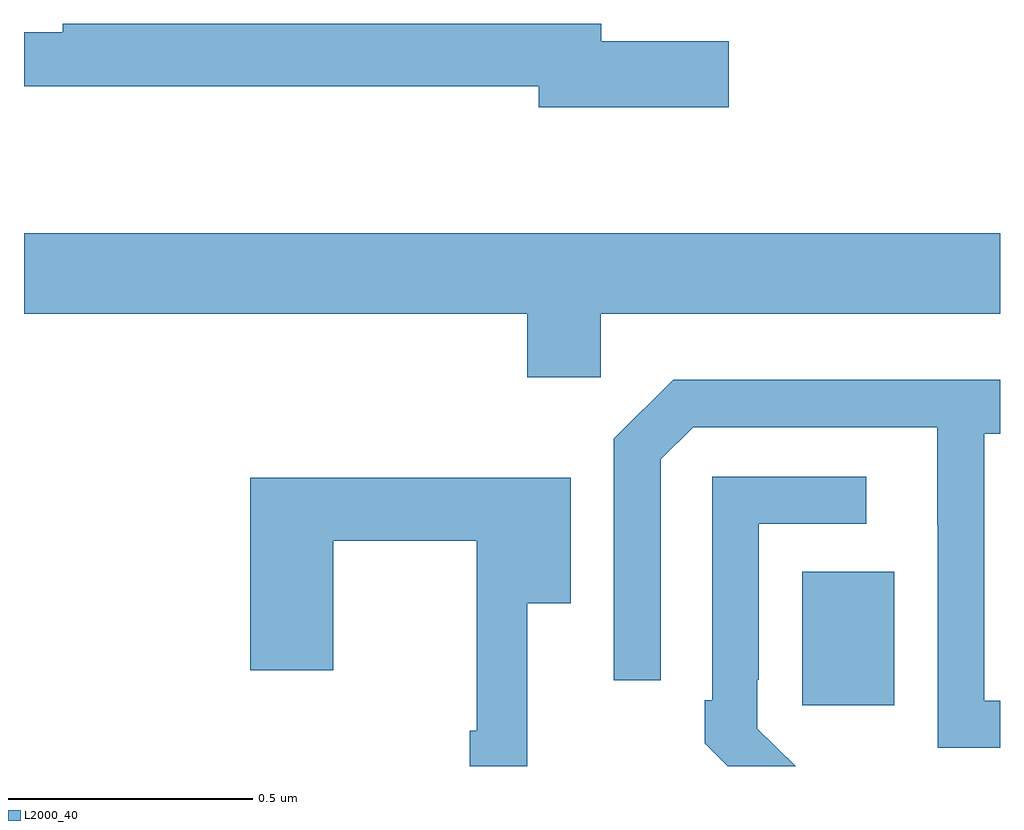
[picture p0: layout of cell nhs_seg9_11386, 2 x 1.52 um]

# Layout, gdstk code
import gdstk
lib = gdstk.Library(unit=1e-6, precision=1e-09)
def R(c, l, rs):  # rectangles x0, y0, x1, y1
    for r in rs: c.add(gdstk.rectangle(r[:2], r[2:], *l))
def P(c, l, *ps):  # polygons
    for p in ps: c.add(gdstk.Polygon(p, *l))
L2000_40 = (2000, 40)

nhs_seg9_11386 = lib.new_cell('nhs_seg9_11386')
R(nhs_seg9_11386, L2000_40, [(256.595,1187.625,256.783,1187.899)])
P(nhs_seg9_11386, L2000_40, [(256.444,1188.986),(256.183,1188.986),(256.183,1189.022),(255.079,1189.022),(255.079,1189.004),(255,1189.004),(255,1188.894),(256.055,1188.894),(256.055,1188.851),(256.444,1188.851)],
  [(256.182,1188.428),(257,1188.428),(257,1188.592),(255,1188.592),(255,1188.428),(256.031,1188.428),(256.031,1188.297),(256.182,1188.297)],
  [(257,1187.634),(256.968,1187.634),(256.968,1188.182),(257,1188.182),(257,1188.292),(256.33,1188.292),(256.209,1188.171),(256.209,1187.676),(256.305,1187.676),(256.305,1188.129),(256.371,1188.195),(256.871,1188.195),(256.871,1187.995),(256.872,1187.995),(256.872,1187.538),(257,1187.538)],
  [(256.503,1187.577),(256.503,1187.677),(256.506,1187.677),(256.506,1187.997),(256.726,1187.997),(256.726,1188.093),(256.41,1188.093),(256.41,1187.635),(256.395,1187.635),(256.395,1187.547),(256.442,1187.5),(256.581,1187.5)],
  [(256.031,1187.834),(256.12,1187.834),(256.12,1188.091),(255.464,1188.091),(255.464,1187.697),(255.634,1187.697),(255.634,1187.962),(255.928,1187.962),(255.928,1187.573),(255.913,1187.573),(255.913,1187.5),(256.031,1187.5)])

lib.write_gds('nhs_seg9_11386.gds')
